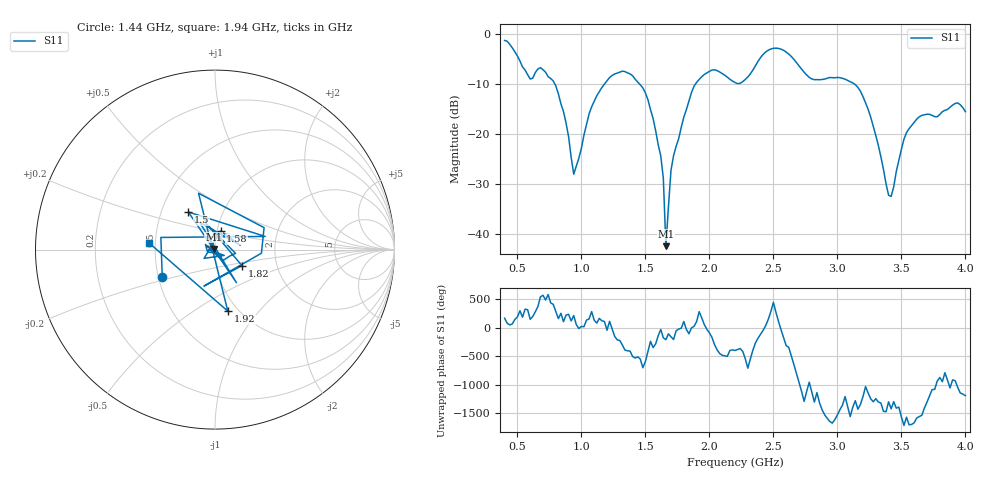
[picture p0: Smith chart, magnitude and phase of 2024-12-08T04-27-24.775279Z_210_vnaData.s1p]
!Created with skrf (http://scikit-rf.org).
# Hz S RI R 50.0
!freq ReS11 ImS11
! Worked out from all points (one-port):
!   181 points, 400 MHz to 4 GHz, reference 50 ohm
!   lowest |S11| = -42.4 dB at 1.66 GHz (marker M1), VSWR 1.02, Z = 49.3 + j0.382 ohm
!   |S11| at or under -10 dB: 791.8 MHz to 1.181 GHz (389.5 MHz wide, 39.5 % of centre); 1.453 GHz to 1.892 GHz (439.2 MHz wide, 26.3 % of centre); 3.131 GHz to end of sweep
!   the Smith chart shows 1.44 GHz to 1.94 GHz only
!   S11 on the Smith chart (normalised r, x): 1.44 GHz: 0.53, -0.18; 1.5 GHz: 0.69, +0.31; 1.58 GHz: 1.04, +0.22; 1.82 GHz: 1.33, -0.24; 1.92 GHz: 0.90, -0.70; 1.94 GHz: 0.46, +0.04
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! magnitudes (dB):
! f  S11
! 400 MHz  -1.3
! 600 MHz  -9.0
! 680 MHz  -6.8
! 780 MHz  -9.4
! 860 MHz  -15.5
! 940 MHz  -28.0
! 1.08 GHz  -14.6
! 1.3 GHz  -7.7
! 1.44 GHz  -9.6
! 1.5 GHz  -11.8
! 1.58 GHz  -19.3
! 1.64 GHz  -28.8
! 1.66 GHz  -42.4
! 1.7 GHz  -27.2
! 1.76 GHz  -20.9
! 1.82 GHz  -15.1
! 1.92 GHz  -9.1
! 1.94 GHz  -8.6
! 2.2 GHz  -9.7
! 2.48 GHz  -3.0
! 2.66 GHz  -5.1
! 2.8 GHz  -9.0
! 3.1 GHz  -9.6
! 3.24 GHz  -15.1
! 3.4 GHz  -32.2
! 3.56 GHz  -18.9
! 3.92 GHz  -13.9
! 4 GHz  -15.5
